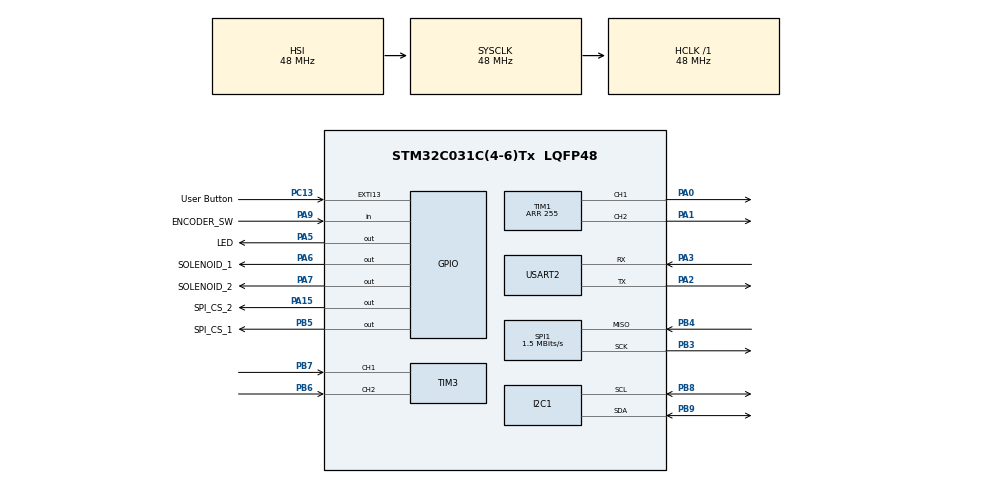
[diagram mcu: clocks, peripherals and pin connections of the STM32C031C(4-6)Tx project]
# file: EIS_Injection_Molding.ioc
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I2C1.Timing=0x20303E5D
Mcu.Family=STM32C0
Mcu.Name=STM32C031C(4-6)Tx
Mcu.Package=LQFP48
NVIC.EXTI4_15_IRQn=true\:0\:0\:false\:false\:true\:true\:true\:true
PA0.Signal=S_TIM1_CH1
PA1.Signal=S_TIM1_CH2
PA13.Mode=Serial_Wire
PA13.Signal=DEBUG_SWDIO
PA14-BOOT0.Mode=Serial_Wire
PA14-BOOT0.Signal=DEBUG_SWCLK
PA15.GPIO_Label=SPI_CS_2
PA15.Signal=GPIO_Output
PA2.Mode=Asynchronous
PA2.Signal=USART2_TX
PA3.Mode=Asynchronous
PA3.Signal=USART2_RX
PA5.GPIO_Label=LED
PA5.Signal=GPIO_Output
PA6.GPIO_Label=SOLENOID_1
PA6.Signal=GPIO_Output
PA7.GPIO_Label=SOLENOID_2
PA7.Signal=GPIO_Output
PA9.GPIO_Label=ENCODER_SW
PA9.Signal=GPIO_Input
PB3.Mode=RX_Only_Simplex_Unidirect_Master
PB3.Signal=SPI1_SCK
PB4.Mode=RX_Only_Simplex_Unidirect_Master
PB4.Signal=SPI1_MISO
PB5.GPIO_Label=SPI_CS_1
PB5.Signal=GPIO_Output
PB6.Signal=S_TIM3_CH2
PB7.Signal=S_TIM3_CH1
PB8.Mode=I2C
PB8.Signal=I2C1_SCL
PB9.Mode=I2C
PB9.Signal=I2C1_SDA
PC13.GPIO_Label=User Button
PC13.Signal=GPXTI13
PC14-OSCX_IN\ (PC14).Mode=LSE-External-Oscillator
PC14-OSCX_IN\ (PC14).Signal=RCC_OSCX_IN
PC15-OSCX_OUT\ (PC15).Mode=LSE-External-Oscillator
PC15-OSCX_OUT\ (PC15).Signal=RCC_OSCX_OUT
PF0-OSC_IN\ (PF0).Mode=HSE-External-Oscillator
PF0-OSC_IN\ (PF0).Signal=RCC_OSC_IN
PF1-OSC_OUT\ (PF1).Mode=HSE-External-Oscillator
PF1-OSC_OUT\ (PF1).Signal=RCC_OSC_OUT
ProjectManager.HeapSize=0x200
ProjectManager.StackSize=0x400
ProjectManager.TargetToolchain=STM32CubeIDE
RCC.ADCFreq_Value=48000000
RCC.AHBFreq_Value=48000000
RCC.CortexFreq_Value=48000000
RCC.EXTERNAL_CLOCK_VALUE=12288000
RCC.HCLKFreq_Value=48000000
RCC.HSE_VALUE=48000000
RCC.HSISYSCLKDivider=RCC_HSI_DIV1
RCC.HSI_VALUE=48000000
RCC.SYSCLKFreq_VALUE=48000000
SH.S_TIM1_CH1.0=TIM1_CH1,PWM Generation1 CH1
SH.S_TIM1_CH2.0=TIM1_CH2,PWM Generation2 CH2
SH.S_TIM3_CH1.0=TIM3_CH1,Encoder_Interface
SH.S_TIM3_CH2.0=TIM3_CH2,Encoder_Interface
SPI1.BaudRatePrescaler=SPI_BAUDRATEPRESCALER_32
SPI1.CalculateBaudRate=1.5 MBits/s
SPI1.Direction=SPI_DIRECTION_2LINES_RXONLY
SPI1.Mode=SPI_MODE_MASTER
SPI1.VirtualType=VM_MASTER
TIM1.AutoReloadPreload=TIM_AUTORELOAD_PRELOAD_ENABLE
TIM1.Channel-PWM\ Generation1\ CH1=TIM_CHANNEL_1
TIM1.Channel-PWM\ Generation2\ CH2=TIM_CHANNEL_2
TIM1.Period=255
USART2.VirtualMode-Asynchronous=VM_ASYNC
board=NUCLEO-C031C6

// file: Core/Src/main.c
/* USER CODE BEGIN Header */
/**
  ******************************************************************************
  * @file           : main.c
  * @brief          : Main program body
  ******************************************************************************
  * @attention
  *
  * Copyright (c) 2024 STMicroelectronics.
  * All rights reserved.
  *
  * This software is licensed under terms that can be found in the LICENSE file
  * in the root directory of this software component.
  * If no LICENSE file comes with this software, it is provided AS-IS.
  *
  ******************************************************************************
  */
/* USER CODE END Header */
#include "main.h"

/* USER CODE BEGIN Includes */
#include "encoder.h"
#include <stdio.h>
#include "LCD_I2C.h"
#include "LCD_Menu.h"
#include "LCD_Menu_Data.h"
#include "MAX31855.h"
#include <string.h>

/* USER CODE END Includes */

/* USER CODE BEGIN PTD */

typedef struct __plastic {
	char name[21]; //name can only be 20 characters long, extra byte for null character
	uint16_t nozzleTemp;
	uint16_t barrelTemp;
	uint32_t heatingTime; //heating time in ms
} Plastic_Type;

/* USER CODE END PTD */

/* USER CODE BEGIN PD */
#define LCD_ADDRESS 0x20
/* USER CODE END PD */

I2C_HandleTypeDef hi2c1;

SPI_HandleTypeDef hspi1;

TIM_HandleTypeDef htim1;
TIM_HandleTypeDef htim3;

UART_HandleTypeDef huart2;

/* USER CODE BEGIN PV */
ENC_Handle encoder;

LCD_HandleTypeDef hlcd;

MAX31855_HandleTypeDef hmax1;
MAX31855_HandleTypeDef hmax2;

/* USER CODE END PV */

void SystemClock_Config(void);
static void MX_GPIO_Init(void);
static void MX_I2C1_Init(void);
static void MX_SPI1_Init(void);
static void MX_TIM1_Init(void);
static void MX_TIM3_Init(void);
static void MX_USART2_UART_Init(void);
/* USER CODE BEGIN PFP */
uint16_t getTemperature (MAX31855_HandleTypeDef* thermocouple, uint16_t tempBuffer[], uint8_t * count, uint8_t size);
void printHomeDisplay (uint8_t injectState, Plastic_Type* plastic);

/* USER CODE END PFP */

/* USER CODE BEGIN 0 */
volatile uint32_t counter = 0;
uint32_t prevCountPrintDebug;
uint32_t prevCountInjectTime;
uint32_t prevCountLED;

//Create main menu
LCD_MENU_List mainMenu;
LCD_MENU_List mainMenu2;

//Create menu items
LCD_MENU_Item homeDisplay;
LCD_MENU_Item debugMenu;
LCD_MENU_Item temperatureMenu;
LCD_MENU_Item injectControlMenu;
LCD_MENU_Item cancelInjectionMenu;
LCD_MENU_Item creditsMenu;

//Create data elements for menu
LCD_MENU_Data setNozzleTemp;
LCD_MENU_Data setBarrelTemp;
LCD_MENU_Data barrelTemp;
LCD_MENU_Data nozzleTemp;
LCD_MENU_Data heatEnable;
LCD_MENU_Data pistonEnable;
LCD_MENU_Data doorEnable;
LCD_MENU_Data ledEnable;
LCD_MENU_Data heatingSpeed;
LCD_MENU_Data injectionEnable;

//Create plastic types
Plastic_Type plastics [5];
Plastic_Type * plastic_HDPE = &plastics[0];
Plastic_Type* plastic_PP = &plastics[1];

/* USER CODE END 0 */

int main(void)
{

  /* USER CODE BEGIN 1 */
	uint8_t MSG[100] = {'\0'};

	uint8_t thermoBufferSize = 10;
	uint16_t thermo1Buffer[10] = {0};
	uint8_t thermo1BufferCount = 0;

	uint16_t thermo2Buffer[10] = {0};
	uint8_t thermo2BufferCount = 0;

	char * hometxt[4] =
	{
			"Set temp            ",
			"Nozzle temp         ",
			"Barrel temp         ",
			"Heating             "
	};

	char * debugTxt[4] =
	{
			"^..",
			"Piston",
			"H Door",
			"LED"
	};

	char * temperatureTxt[4] =
	{
			"^..",
			"Set Temp 1",
			"Heating",
			"Speed"
	};

	char * injectSelectionTxt[4] =
	{
			"^..",
			"HDPE",
			"PP",
			""
	};

	char * cancelInjectionTxt[4] =
	{
			"Cancel Injection?",
			"Yes",
			"No",
			""
	};

	char * credits[4] =
	{
			"Tevin Poudrier",
			"Jonah Shadley",
			"Colson Miller",
			"Josiah Mart"
	};

  /* USER CODE END 1 */

  /* MCU Configuration--------------------------------------------------------*/

  /* Reset of all peripherals, Initializes the Flash interface and the Systick. */
  HAL_Init();

  /* Configure the system clock */
  SystemClock_Config();

  /* USER CODE BEGIN SysInit */
  SysTick_Config(SystemCoreClock / 1000); //set to 1ms per tick

  /* USER CODE END SysInit */

  /* Initialize all configured peripherals */
  MX_GPIO_Init();
  MX_I2C1_Init();
  MX_SPI1_Init();
  MX_TIM1_Init();
  MX_TIM3_Init();
  MX_USART2_UART_Init();
  /* USER CODE BEGIN 2 */

  //Define Plastics
  plastic_HDPE->nozzleTemp = 220;
  plastic_HDPE->barrelTemp = 210;
  plastic_HDPE->heatingTime = 1200000; // heatTime in ms
  strcpy(plastic_HDPE->name, "HDPE");

  plastic_PP->nozzleTemp = 245;
  plastic_PP->barrelTemp = 238;
  plastic_PP->heatingTime = 1200000; // heatTime in ms
  strcpy(plastic_HDPE->name, "PP");

  //Initalize peripherials
  ENC_Init(&encoder, &htim3, GPIOA, GPIO_PIN_9);
  LCD_Init(&hlcd, &hi2c1, LCD_ADDRESS);
  MAX_Init(&hmax1, &hspi1, GPIO_PIN_15, GPIOA);
  MAX_Init(&hmax2, &hspi1, GPIO_PIN_5, GPIOB);
  HAL_TIM_PWM_Start(&htim1, TIM_CHANNEL_1);
  HAL_TIM_PWM_Start(&htim1, TIM_CHANNEL_2);

  //Initalize Menu Lists
  LCD_MENU_ListInit(&hlcd, &mainMenu);
  LCD_MENU_ListInit(&hlcd, &mainMenu2);
  LCD_MENU_ExtendList(&mainMenu, &mainMenu2);

  //Initialize Data Elements
  LCD_MENU_DataInit(&setNozzleTemp, &hlcd); // set temp
  LCD_MENU_DataInit(&setBarrelTemp, &hlcd);
  LCD_MENU_DataInit(&nozzleTemp, &hlcd); // current temp 1
  LCD_MENU_DataInit(&barrelTemp, &hlcd); // current temp 2
  LCD_MENU_DataInit(&heatEnable, &hlcd); // heating on/off
  LCD_MENU_DataInit(&pistonEnable, &hlcd); // piston
  LCD_MENU_DataInit(&doorEnable, &hlcd); // h door
  LCD_MENU_DataInit(&ledEnable, &hlcd); // led
  LCD_MENU_DataInit(&injectionEnable, &hlcd);

  //Initialize Menu Items
  LCD_MENU_ItemInit(&hlcd, &homeDisplay, "Home", hometxt, ITEM_TYPE_DISPLAY);
  LCD_MENU_ItemInit(&hlcd, &debugMenu, "Debug", debugTxt, ITEM_TYPE_CONFIG);
  LCD_MENU_ItemInit(&hlcd, &temperatureMenu, "Temperature", temperatureTxt, ITEM_TYPE_CONFIG);
  LCD_MENU_ItemInit(&hlcd, &injectControlMenu, "Start Injection", injectSelectionTxt, ITEM_TYPE_CONFIG);
  LCD_MENU_ItemInit(&hlcd, &cancelInjectionMenu, "CancelInjection", cancelInjectionTxt, ITEM_TYPE_CONFIG);
  LCD_MENU_ItemInit(&hlcd, &creditsMenu, "Credits", credits, ITEM_TYPE_DISPLAY);

  //Add data to Home Display
  LCD_MENU_ItemAddData(&homeDisplay, &setNozzleTemp, 0,  ITEM_ACTION_DATA); // set temp
  LCD_MENU_ItemAddData(&homeDisplay, &nozzleTemp, 1, ITEM_ACTION_DATA); // current temp 1
  LCD_MENU_ItemAddData(&homeDisplay, &barrelTemp, 2, ITEM_ACTION_DATA); // current temp 2
  LCD_MENU_ItemAddData(&homeDisplay, &heatEnable, 3, ITEM_ACTION_TOGGLE); // heating on/off

  //Add data items to Debug menu
  LCD_MENU_ItemAddData(&debugMenu, &pistonEnable, 1, ITEM_ACTION_TOGGLE);
  LCD_MENU_ItemAddData(&debugMenu, &doorEnable, 2, ITEM_ACTION_TOGGLE);
  LCD_MENU_ItemAddData(&debugMenu, &ledEnable, 3, ITEM_ACTION_TOGGLE);
  LCD_MENU_ItemSetAction(&debugMenu, 0, ITEM_ACTION_RETURN); //return to main menu

  //Add data items to temperature menu
  LCD_MENU_ItemAddData(&temperatureMenu, &setNozzleTemp, 1, ITEM_ACTION_DATA); //set temp
  LCD_MENU_ItemAddData(&temperatureMenu, &heatEnable, 2, ITEM_ACTION_TOGGLE); // heating on/off
  LCD_MENU_ItemAddData(&temperatureMenu, &heatingSpeed, 3, ITEM_ACTION_DATA); // heating speed
  LCD_MENU_ItemSetAction(&temperatureMenu, 0, ITEM_ACTION_RETURN);

  //Add data items to injection menu
  LCD_MENU_ItemSetAction(&injectControlMenu, 0, ITEM_ACTION_RETURN);
  LCD_MENU_ItemSetAction(&injectControlMenu, 1, ITEM_ACTION_SELECT);
  LCD_MENU_ItemSetAction(&injectControlMenu, 2, ITEM_ACTION_SELECT);

  //Add plastics to injection memu
  LCD_MENU_ItemSetString(&injectControlMenu, 1, plastic_HDPE->name);
  LCD_MENU_ItemSetString(&injectControlMenu, 2, plastic_PP->name);

  //Add actions to cancel menu
  LCD_MENU_ItemSetAction(&cancelInjectionMenu, 1, ITEM_ACTION_SELECT);
  LCD_MENU_ItemSetAction(&cancelInjectionMenu, 2, ITEM_ACTION_SELECT);

  //Add menu items to main menu
  LCD_MENU_AddItemToList(&mainMenu, &homeDisplay);
  LCD_MENU_AddItemToList(&mainMenu, &injectControlMenu);
  LCD_MENU_AddItemToList(&mainMenu, &debugMenu);
  LCD_MENU_AddItemToList(&mainMenu, &temperatureMenu);
  LCD_MENU_AddItemToList(&mainMenu2, &creditsMenu);

  sprintf( (char*) MSG, "EIS Injection Molding %d\n\r", MAX_GetCelcius(&hmax1));
  HAL_UART_Transmit(&huart2, MSG, strlen( (char*) MSG), 100);

  uint8_t menuState = ST_MENU;
  uint8_t injectState = ST_STANDBY;
  uint8_t cancelRequest = LOW;

  LCD_MENU_List* headList = &mainMenu;
  LCD_MENU_List* currentList = headList;
  LCD_MENU_Item* currentItem = &homeDisplay;
  Plastic_Type* currentPlastic = plastic_HDPE;

  LCD_MENU_PrintList (headList);

  //set default temperatures
  setNozzleTemp.value = 220; //set temp to 5
  setBarrelTemp.value = 210;
  heatingSpeed.value = 210; // heat bands duty cycle 0-255

  /* USER CODE END 2 */

  /* Infinite loop */
  /* USER CODE BEGIN WHILE */
  while (1)
  {
	  //Navigate main menu
	  if (menuState == ST_MENU) {
		  if (ENC_ReadSwitch(&encoder) == HIGH) {
			  menuState = ST_ITEM;
			  currentItem = currentList->items[currentList->cursor];
			  LCD_MENU_PrintItem(currentItem);
		  }
		  else if (ENC_CountChange(&encoder) == TRUE) {
			  uint8_t direction = ENC_GetDirection(&encoder);
			  currentList = LCD_MENU_MoveListCursor(currentList, direction);
		  }
	  }
	  //Navigate menu item
	  else if (menuState == ST_ITEM) {
		  if (currentItem->type == ITEM_TYPE_DISPLAY) {
			  LCD_MENU_UpdateItemData(currentItem);
		  }

		  if (ENC_ReadSwitch(&encoder) == HIGH) {
			  //Return to main menu
			  if (currentItem->type == ITEM_TYPE_DISPLAY) {

				  menuState = ST_MENU;
				  LCD_MENU_PrintList (currentList);
			  }
			  //return to main menu
			  else if (currentItem->rowType[currentItem->cursor] == ITEM_ACTION_RETURN) {
				  menuState = ST_MENU;
				  LCD_MENU_PrintList (currentList);
			  }
			  //Edit data
			  else if (currentItem->rowType[currentItem->cursor] == ITEM_ACTION_DATA) {
				  menuState = ST_DATA;
			  }
			  //Toggle data
			  else if (currentItem->rowType[currentItem->cursor] == ITEM_ACTION_TOGGLE) {
				  LCD_MENU_DataToggle(currentItem->dataElement[currentItem->cursor]);
				  LCD_MENU_UpdateItemData(currentItem);
			  }
			  //Select injection profile
			  else if (currentItem->rowType[currentItem->cursor] == ITEM_ACTION_SELECT) {
				  currentPlastic = &plastics[currentItem->cursor - 1];
				  menuState = ST_INJECT;
				  injectState = ST_HEAT;
				  currentItem = &homeDisplay;
				  LCD_MENU_PrintItem(&homeDisplay);
			  }

		  }
		  //Move cursor
		  else if (ENC_CountChange(&encoder) == TRUE) {
			  uint8_t direction = ENC_GetDirection(&encoder);
			  currentItem = LCD_MENU_MoveItemCursor(currentItem, direction);
		  }
	  }
	  //Editing Data
	  else if (menuState == ST_DATA) {
		  //Return to menu item
		  if (ENC_ReadSwitch(&encoder) == HIGH) {
			  menuState = ST_ITEM;
		  }
		  //Increment data based on encoder direction
		  else if (ENC_CountChange(&encoder) == TRUE) {
			  LCD_MENU_DataIncrement(currentItem->dataElement[currentItem->cursor], ENC_GetDirection(&encoder));
			  LCD_MENU_UpdateItemData(currentItem);
		  }
	  }

	  /**
	   * Injection Process active
	   * Lock display on home info screen
	   * User can cancel procces by pressing encoder button and confirming
	   */
	  else if (menuState == ST_INJECT) {
		  //update display
		  LCD_MENU_UpdateItemData(currentItem);
		  uint8_t switchValue = ENC_ReadSwitch(&encoder);

		  //Request to cancel injection
		  if (switchValue && cancelRequest == LOW) {
			  cancelRequest = HIGH;
			  currentItem = &cancelInjectionMenu;
			  LCD_MENU_PrintItem(currentItem);
		  }
		  //Select Yes or no to cancel injection
		  else if (switchValue && cancelRequest == HIGH) {
			  //cancel
			  if (currentItem->cursor == 1) {
				  cancelRequest = LOW;
				  menuState = ST_MENU;
				  injectState = ST_STANDBY;
				  LCD_MENU_PrintList(headList);
			  }
			  //do not cancel
			  else if (currentItem->cursor == 2) {
				  cancelRequest = LOW;
				  currentItem = &homeDisplay;
				  LCD_MENU_PrintItem(currentItem);
			  }

		  }
		  //Navigate cancelation menu
		  else if (cancelRequest == HIGH) {
			  if (ENC_CountChange(&encoder) == TRUE) {
				  uint8_t direction = ENC_GetDirection(&encoder);
				  currentItem = LCD_MENU_MoveItemCursor(currentItem, direction);
			  }
		  }
	  }

	  //Injection Process Control
	  switch (injectState) {
	  //wating to inject
	  case ST_STANDBY:
		  injectionEnable.value = LOW;
		  prevCountInjectTime = counter;
		  break;

	  //heating
	  case ST_HEAT:
		  setNozzleTemp.value = currentPlastic->nozzleTemp;
		  setBarrelTemp.value = currentPlastic->barrelTemp;
		  heatEnable.value = HIGH;

		  //heating complete
		  if (nozzleTemp.value >= currentPlastic->nozzleTemp && barrelTemp.value >= currentPlastic->barrelTemp) {
			  injectState = ST_INSERT;
			  prevCountInjectTime = counter;

			  //turn off heat bands
			  TIM1->CCR2 = 0;
			  TIM1->CCR1 = 0;
		  }

		  else {
			  //turn off heat bands
			  TIM1->CCR2 = 0;
			  TIM1->CCR1 = 0;
		  }
		  break;

	  //insert plastc, hold door open for 10 seconds
	  case ST_INSERT:
		  doorEnable.value = HIGH;
		  if (counter - prevCountInjectTime > 10000) {
			  injectState = ST_MELTING;
			  prevCountInjectTime = counter;
			  doorEnable.value = LOW;
		  }

		  break;

	  //melting plastic
	  case ST_MELTING:
		  if (counter - prevCountInjectTime > currentPlastic->heatingTime) {
			  injectState = ST_INJECT_PLASTIC;
			  prevCountInjectTime = counter;
		  }
		  break;

	  //inject plastic
	  case ST_INJECT_PLASTIC:
		  pistonEnable.value = HIGH;
		  if (counter - prevCountInjectTime > 60000) {
			  injectState = ST_STANDBY;
			  menuState = ST_ITEM;
			  prevCountInjectTime = counter;
			  pistonEnable.value = LOW;
			  heatEnable.value = LOW;
		  }
		  break;

	  }

	  nozzleTemp.value = getTemperature(&hmax1, thermo1Buffer, &thermo1BufferCount, thermoBufferSize);
	  barrelTemp.value = getTemperature(&hmax2, thermo2Buffer, &thermo2BufferCount, thermoBufferSize);

	  //Heating
	  if (heatEnable.value == HIGH) {
		  //turn on nozzle heat bands if below set temp
		  if (nozzleTemp.value < setNozzleTemp.value) {
			  TIM1->CCR1 = (uint8_t) heatingSpeed.value;

		  }
		  else {
			  //turn off heat bands
			  TIM1->CCR1 = 0;
			  if (injectState == ST_STANDBY) {
				  heatEnable.value = LOW;
			  }
		  }

		  //turn on barrel heat bands if below set temp
		  if (barrelTemp.value < setBarrelTemp.value) {
			  TIM1->CCR2 = (uint8_t) heatingSpeed.value;
		  }
		  else {
			  //turn off heat bands
			  TIM1->CCR2 = 0;

			  if (injectState == ST_STANDBY) {
				  heatEnable.value = LOW;
			  }

		  }
	  }

	  else {
		  //turn off heat bands
		  TIM1->CCR2 = 0;
		  TIM1->CCR1 = 0;
	  }

	  //Status LED
	  if (injectState != ST_STANDBY) {
		  //blink LED during injection process
		  if (counter - prevCountLED > 500) {
			  //toggle LED
			  ledEnable.value = !ledEnable.value & 0x1;
			  prevCountLED = counter;
		  }
	  }
	  else {
		  if (nozzleTemp.value > 40 || barrelTemp.value > 40) {
			  ledEnable.value = HIGH;
		  }
		  else {
			  ledEnable.value = LOW;
		  }
	  }

	  //Update GPIO values;
	  HAL_GPIO_WritePin(GPIOA, GPIO_PIN_5, ledEnable.value);
	  HAL_GPIO_WritePin(GPIOA, GPIO_PIN_7, doorEnable.value);
	  HAL_GPIO_WritePin(GPIOA, GPIO_PIN_6, pistonEnable.value);

	  HAL_Delay(10);

	  //Print debug messages to com port
	  if (counter - prevCountPrintDebug > 1000) {
		  if (heatEnable.value == HIGH) {
			  if (currentPlastic->nozzleTemp > nozzleTemp.value) {
				  nozzleTemp.value++;
			  }
			  if (currentPlastic->barrelTemp > barrelTemp.value) {
				  barrelTemp.value++;
			  }
		  }

		  sprintf( (char*) MSG, "----Application state: %d----\r\n", menuState);
		  HAL_UART_Transmit(&huart2, MSG, strlen( (char*) MSG), 100);

		  sprintf( (char*) MSG, "Injection state: %d\r\n", injectState);
		  HAL_UART_Transmit(&huart2, MSG, strlen( (char*) MSG), 100);

		  sprintf( (char*) MSG, "LED: %d, Door: %d, Piston: %d\r\n", ledEnable.value, doorEnable.value, pistonEnable.value);
		  HAL_UART_Transmit(&huart2, MSG, strlen( (char*) MSG), 100);

		  sprintf( (char*) MSG, "HeatEN: %d, nozzle: %d, barrel: %d, heatSpeed: %d\r\n", heatEnable.value, nozzleTemp.value, barrelTemp.value, heatingSpeed.value);
		  HAL_UART_Transmit(&huart2, MSG, strlen( (char*) MSG), 100);

		  sprintf( (char*) MSG, "Set temps, nozzle: %d, barrel: %d\r\n", currentPlastic->nozzleTemp, currentPlastic->barrelTemp);
		  HAL_UART_Transmit(&huart2, MSG, strlen( (char*) MSG), 100);

		  sprintf( (char*) MSG, "Count-prevInjectCount: %lu, wait time: %lu\r\n\n", counter - prevCountInjectTime, currentPlastic->heatingTime );
		  HAL_UART_Transmit(&huart2, MSG, strlen( (char*) MSG), 100);
		  prevCountPrintDebug = counter;
	  }

    /* USER CODE END WHILE */

  }
}

void SystemClock_Config(void)
{
  RCC_OscInitTypeDef RCC_OscInitStruct = {0};
  RCC_ClkInitTypeDef RCC_ClkInitStruct = {0};

  /** Initializes the RCC Oscillators according to the specified parameters
  * in the RCC_OscInitTypeDef structure.
  */
  RCC_OscInitStruct.OscillatorType = RCC_OSCILLATORTYPE_HSI;
  RCC_OscInitStruct.HSIState = RCC_HSI_ON;
  RCC_OscInitStruct.HSIDiv = RCC_HSI_DIV1;
  RCC_OscInitStruct.HSICalibrationValue = RCC_HSICALIBRATION_DEFAULT;
  if (HAL_RCC_OscConfig(&RCC_OscInitStruct) != HAL_OK)
  {
    Error_Handler();
  }

  /** Initializes the CPU, AHB and APB buses clocks
  */
  RCC_ClkInitStruct.ClockType = RCC_CLOCKTYPE_HCLK|RCC_CLOCKTYPE_SYSCLK
                              |RCC_CLOCKTYPE_PCLK1;
  RCC_ClkInitStruct.SYSCLKSource = RCC_SYSCLKSOURCE_HSI;
  RCC_ClkInitStruct.SYSCLKDivider = RCC_SYSCLK_DIV1;
  RCC_ClkInitStruct.AHBCLKDivider = RCC_HCLK_DIV1;
  RCC_ClkInitStruct.APB1CLKDivider = RCC_APB1_DIV1;

  if (HAL_RCC_ClockConfig(&RCC_ClkInitStruct, FLASH_LATENCY_1) != HAL_OK)
  {
    Error_Handler();
  }
}

static void MX_I2C1_Init(void)
{

  hi2c1.Instance = I2C1;
  hi2c1.Init.Timing = 0x20303E5D;
  hi2c1.Init.OwnAddress1 = 0;
  hi2c1.Init.AddressingMode = I2C_ADDRESSINGMODE_7BIT;
  hi2c1.Init.DualAddressMode = I2C_DUALADDRESS_DISABLE;
  hi2c1.Init.OwnAddress2 = 0;
  hi2c1.Init.OwnAddress2Masks = I2C_OA2_NOMASK;
  hi2c1.Init.GeneralCallMode = I2C_GENERALCALL_DISABLE;
  hi2c1.Init.NoStretchMode = I2C_NOSTRETCH_DISABLE;
  if (HAL_I2C_Init(&hi2c1) != HAL_OK)
  {
    Error_Handler();
  }

  /** Configure Analogue filter
  */
  if (HAL_I2CEx_ConfigAnalogFilter(&hi2c1, I2C_ANALOGFILTER_ENABLE) != HAL_OK)
  {
    Error_Handler();
  }

  /** Configure Digital filter
  */
  if (HAL_I2CEx_ConfigDigitalFilter(&hi2c1, 0) != HAL_OK)
  {
    Error_Handler();
  }

}

static void MX_SPI1_Init(void)
{

  /* SPI1 parameter configuration*/
  hspi1.Instance = SPI1;
  hspi1.Init.Mode = SPI_MODE_MASTER;
  hspi1.Init.Direction = SPI_DIRECTION_2LINES_RXONLY;
  hspi1.Init.DataSize = SPI_DATASIZE_8BIT;
  hspi1.Init.CLKPolarity = SPI_POLARITY_LOW;
  hspi1.Init.CLKPhase = SPI_PHASE_1EDGE;
  hspi1.Init.NSS = SPI_NSS_SOFT;
  hspi1.Init.BaudRatePrescaler = SPI_BAUDRATEPRESCALER_32;
  hspi1.Init.FirstBit = SPI_FIRSTBIT_MSB;
  hspi1.Init.TIMode = SPI_TIMODE_DISABLE;
  hspi1.Init.CRCCalculation = SPI_CRCCALCULATION_DISABLE;
  hspi1.Init.CRCPolynomial = 7;
  hspi1.Init.CRCLength = SPI_CRC_LENGTH_DATASIZE;
  hspi1.Init.NSSPMode = SPI_NSS_PULSE_ENABLE;
  if (HAL_SPI_Init(&hspi1) != HAL_OK)
  {
    Error_Handler();
  }

}

static void MX_TIM1_Init(void)
{

  TIM_MasterConfigTypeDef sMasterConfig = {0};
  TIM_OC_InitTypeDef sConfigOC = {0};
  TIM_BreakDeadTimeConfigTypeDef sBreakDeadTimeConfig = {0};

  htim1.Instance = TIM1;
  htim1.Init.Prescaler = 0;
  htim1.Init.CounterMode = TIM_COUNTERMODE_UP;
  htim1.Init.Period = 255;
  htim1.Init.ClockDivision = TIM_CLOCKDIVISION_DIV1;
  htim1.Init.RepetitionCounter = 0;
  htim1.Init.AutoReloadPreload = TIM_AUTORELOAD_PRELOAD_ENABLE;
  if (HAL_TIM_PWM_Init(&htim1) != HAL_OK)
  {
    Error_Handler();
  }
  sMasterConfig.MasterOutputTrigger = TIM_TRGO_RESET;
  sMasterConfig.MasterOutputTrigger2 = TIM_TRGO2_RESET;
  sMasterConfig.MasterSlaveMode = TIM_MASTERSLAVEMODE_DISABLE;
  if (HAL_TIMEx_MasterConfigSynchronization(&htim1, &sMasterConfig) != HAL_OK)
  {
    Error_Handler();
  }
  sConfigOC.OCMode = TIM_OCMODE_PWM1;
  sConfigOC.Pulse = 0;
  sConfigOC.OCPolarity = TIM_OCPOLARITY_HIGH;
  sConfigOC.OCNPolarity = TIM_OCNPOLARITY_HIGH;
  sConfigOC.OCFastMode = TIM_OCFAST_DISABLE;
  sConfigOC.OCIdleState = TIM_OCIDLESTATE_RESET;
  sConfigOC.OCNIdleState = TIM_OCNIDLESTATE_RESET;
  if (HAL_TIM_PWM_ConfigChannel(&htim1, &sConfigOC, TIM_CHANNEL_1) != HAL_OK)
  {
    Error_Handler();
  }
  if (HAL_TIM_PWM_ConfigChannel(&htim1, &sConfigOC, TIM_CHANNEL_2) != HAL_OK)
  {
    Error_Handler();
  }
  sBreakDeadTimeConfig.OffStateRunMode = TIM_OSSR_DISABLE;
  sBreakDeadTimeConfig.OffStateIDLEMode = TIM_OSSI_DISABLE;
  sBreakDeadTimeConfig.LockLevel = TIM_LOCKLEVEL_OFF;
  sBreakDeadTimeConfig.DeadTime = 0;
  sBreakDeadTimeConfig.BreakState = TIM_BREAK_DISABLE;
  sBreakDeadTimeConfig.BreakPolarity = TIM_BREAKPOLARITY_HIGH;
  sBreakDeadTimeConfig.BreakFilter = 0;
  sBreakDeadTimeConfig.BreakAFMode = TIM_BREAK_AFMODE_INPUT;
  sBreakDeadTimeConfig.Break2State = TIM_BREAK2_DISABLE;
  sBreakDeadTimeConfig.Break2Polarity = TIM_BREAK2POLARITY_HIGH;
  sBreakDeadTimeConfig.Break2Filter = 0;
  sBreakDeadTimeConfig.Break2AFMode = TIM_BREAK_AFMODE_INPUT;
  sBreakDeadTimeConfig.AutomaticOutput = TIM_AUTOMATICOUTPUT_DISABLE;
  if (HAL_TIMEx_ConfigBreakDeadTime(&htim1, &sBreakDeadTimeConfig) != HAL_OK)
  {
    Error_Handler();
  }
  HAL_TIM_MspPostInit(&htim1);

}

static void MX_TIM3_Init(void)
{

  TIM_Encoder_InitTypeDef sConfig = {0};
  TIM_MasterConfigTypeDef sMasterConfig = {0};

  htim3.Instance = TIM3;
  htim3.Init.Prescaler = 0;
  htim3.Init.CounterMode = TIM_COUNTERMODE_UP;
  htim3.Init.Period = 65535;
  htim3.Init.ClockDivision = TIM_CLOCKDIVISION_DIV1;
  htim3.Init.AutoReloadPreload = TIM_AUTORELOAD_PRELOAD_DISABLE;
  sConfig.EncoderMode = TIM_ENCODERMODE_TI1;
  sConfig.IC1Polarity = TIM_ICPOLARITY_RISING;
  sConfig.IC1Selection = TIM_ICSELECTION_DIRECTTI;
  sConfig.IC1Prescaler = TIM_ICPSC_DIV1;
  sConfig.IC1Filter = 0;
  sConfig.IC2Polarity = TIM_ICPOLARITY_RISING;
  sConfig.IC2Selection = TIM_ICSELECTION_DIRECTTI;
  sConfig.IC2Prescaler = TIM_ICPSC_DIV1;
  sConfig.IC2Filter = 0;
  if (HAL_TIM_Encoder_Init(&htim3, &sConfig) != HAL_OK)
  {
    Error_Handler();
  }
  sMasterConfig.MasterOutputTrigger = TIM_TRGO_RESET;
  sMasterConfig.MasterSlaveMode = TIM_MASTERSLAVEMODE_DISABLE;
  if (HAL_TIMEx_MasterConfigSynchronization(&htim3, &sMasterConfig) != HAL_OK)
  {
    Error_Handler();
  }

}

static void MX_USART2_UART_Init(void)
{

  huart2.Instance = USART2;
  huart2.Init.BaudRate = 115200;
  huart2.Init.WordLength = UART_WORDLENGTH_8B;
  huart2.Init.StopBits = UART_STOPBITS_1;
  huart2.Init.Parity = UART_PARITY_NONE;
  huart2.Init.Mode = UART_MODE_TX_RX;
  huart2.Init.HwFlowCtl = UART_HWCONTROL_NONE;
  huart2.Init.OverSampling = UART_OVERSAMPLING_16;
  huart2.Init.OneBitSampling = UART_ONE_BIT_SAMPLE_DISABLE;
  huart2.Init.ClockPrescaler = UART_PRESCALER_DIV1;
  huart2.AdvancedInit.AdvFeatureInit = UART_ADVFEATURE_NO_INIT;
  if (HAL_UART_Init(&huart2) != HAL_OK)
  {
    Error_Handler();
  }

}

static void MX_GPIO_Init(void)
{
  GPIO_InitTypeDef GPIO_InitStruct = {0};

  /* GPIO Ports Clock Enable */
  __HAL_RCC_GPIOC_CLK_ENABLE();
  __HAL_RCC_GPIOF_CLK_ENABLE();
  __HAL_RCC_GPIOA_CLK_ENABLE();
  __HAL_RCC_GPIOB_CLK_ENABLE();

  /*Configure GPIO pin Output Level */
  HAL_GPIO_WritePin(GPIOA, LED_Pin|SOLENOID_1_Pin|SOLENOID_2_Pin|SPI_CS_2_Pin, GPIO_PIN_RESET);

  /*Configure GPIO pin Output Level */
  HAL_GPIO_WritePin(SPI_CS_1_GPIO_Port, SPI_CS_1_Pin, GPIO_PIN_RESET);

  /*Configure GPIO pin : User_Button_Pin */
  GPIO_InitStruct.Pin = User_Button_Pin;
  GPIO_InitStruct.Mode = GPIO_MODE_IT_RISING;
  GPIO_InitStruct.Pull = GPIO_NOPULL;
  HAL_GPIO_Init(User_Button_GPIO_Port, &GPIO_InitStruct);

  /*Configure GPIO pins : LED_Pin SOLENOID_1_Pin SOLENOID_2_Pin SPI_CS_2_Pin */
  GPIO_InitStruct.Pin = LED_Pin|SOLENOID_1_Pin|SOLENOID_2_Pin|SPI_CS_2_Pin;
  GPIO_InitStruct.Mode = GPIO_MODE_OUTPUT_PP;
  GPIO_InitStruct.Pull = GPIO_NOPULL;
  GPIO_InitStruct.Speed = GPIO_SPEED_FREQ_LOW;
  HAL_GPIO_Init(GPIOA, &GPIO_InitStruct);

  /*Configure GPIO pin : ENCODER_SW_Pin */
  GPIO_InitStruct.Pin = ENCODER_SW_Pin;
  GPIO_InitStruct.Mode = GPIO_MODE_INPUT;
  GPIO_InitStruct.Pull = GPIO_NOPULL;
  HAL_GPIO_Init(ENCODER_SW_GPIO_Port, &GPIO_InitStruct);

  /*Configure GPIO pin : SPI_CS_1_Pin */
  GPIO_InitStruct.Pin = SPI_CS_1_Pin;
  GPIO_InitStruct.Mode = GPIO_MODE_OUTPUT_PP;
  GPIO_InitStruct.Pull = GPIO_NOPULL;
  GPIO_InitStruct.Speed = GPIO_SPEED_FREQ_LOW;
  HAL_GPIO_Init(SPI_CS_1_GPIO_Port, &GPIO_InitStruct);

  /* EXTI interrupt init*/
  HAL_NVIC_SetPriority(EXTI4_15_IRQn, 0, 0);
  HAL_NVIC_EnableIRQ(EXTI4_15_IRQn);

}

/* USER CODE BEGIN 4 */

//Ring buffer implementation
uint16_t getTemperature (MAX31855_HandleTypeDef* thermocouple, uint16_t tempBuffer[], uint8_t * count, uint8_t size)
{

	//Get measurement
	tempBuffer[*count] = MAX_GetCelcius(thermocouple);
	*count = (*count + 1) % size;

	//Calculate total
	uint32_t total = 0;
    for (uint8_t i = 0; i < size; i++)
    {
	    total += tempBuffer[i];
    }

    //Calculate and return average
    uint16_t average = total / size;
    return average;
}

void printHomeDisplay (uint8_t injectState, Plastic_Type* plastic) {
	LCD_Clear(&hlcd);
	char string[21] = {0};

	//print nozzle data
	LCD_SetCursor(&hlcd, 0, 0);
	snprintf(string, 21, "Nozzle: %d/%d", setNozzleTemp.value, nozzleTemp.value);
	LCD_Print(&hlcd, string);

	//print barrel data
	LCD_SetCursor(&hlcd, 0, 1);
	snprintf(string, 21, "Barrel: %d/%d", setBarrelTemp.value, barrelTemp.value);
	LCD_Print(&hlcd, string);

	if (injectState != ST_STANDBY) {
		LCD_SetCursor(&hlcd, 0, 2);
		snprintf(string, 21, "%s", plastic->name);
		LCD_Print(&hlcd, string);

		LCD_SetCursor(&hlcd, 0, 3);
		snprintf(string, 21, "Progress: %lu", (counter - prevCountInjectTime) / plastic->heatingTime);
		LCD_Print(&hlcd, string);
	}
	else {
		LCD_SetCursor(&hlcd, 0, 3);
		snprintf(string, 21, "Standby");
		LCD_Print(&hlcd, string);
	}
}

/* USER CODE END 4 */

void Error_Handler(void)
{
  __disable_irq();
  while (1)
  {
  }
}
